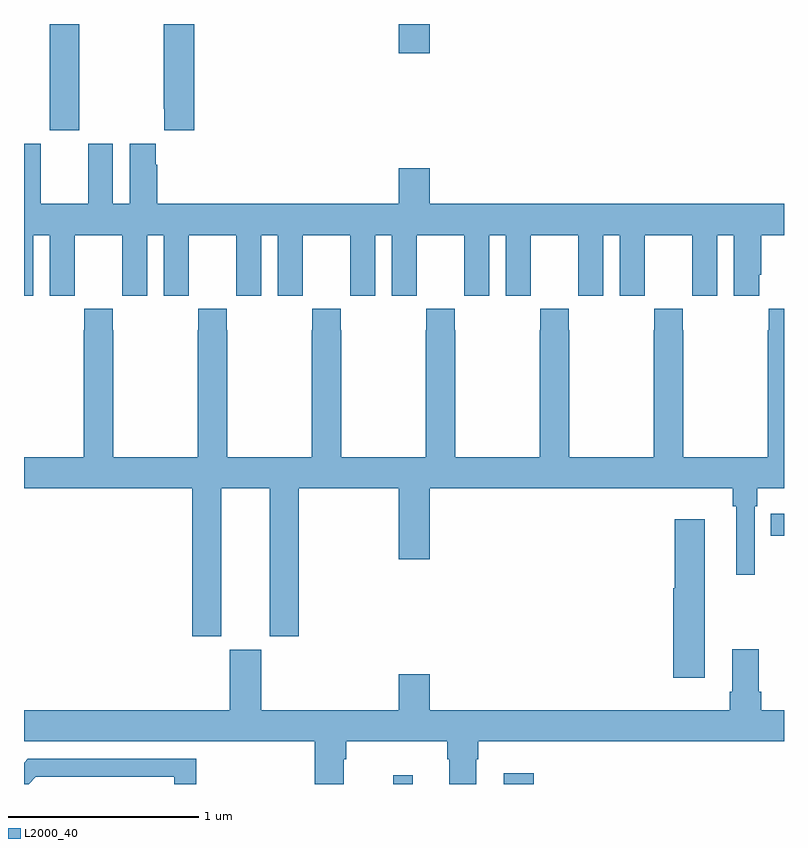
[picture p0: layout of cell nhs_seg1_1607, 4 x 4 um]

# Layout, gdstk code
import gdstk
lib = gdstk.Library(unit=1e-6, precision=1e-09)
def R(c, l, rs):  # rectangles x0, y0, x1, y1
    for r in rs: c.add(gdstk.rectangle(r[:2], r[2:], *l))
def P(c, l, *ps):  # polygons
    for p in ps: c.add(gdstk.Polygon(p, *l))
L2000_40 = (2000, 40)

nhs_seg1_1607 = lib.new_cell('nhs_seg1_1607')
R(nhs_seg1_1607, L2000_40, [(200.944,526.199,201.047,526.246), (201.524,526.199,201.683,526.255), (202.93,527.506,203,527.622), (199.135,529.641,199.29,530.199), (200.972,530.046,201.136,530.199)])
P(nhs_seg1_1607, L2000_40, [(199.895,530.199),(199.735,530.199),(199.735,529.753),(199.739,529.753),(199.739,529.641),(199.895,529.641)],
  [(199.048,529.088),(199.136,529.088),(199.136,528.768),(199.266,528.768),(199.266,528.88),(199.267,528.88),(199.267,529.088),(199.517,529.088),(199.517,528.88),(199.518,528.88),(199.518,528.768),(199.648,528.768),(199.648,529.088),(199.736,529.088),(199.736,528.768),(199.866,528.768),(199.866,528.88),(199.867,528.88),(199.867,529.088),(200.117,529.088),(200.117,528.88),(200.118,528.88),(200.118,528.768),(200.248,528.768),(200.248,529.088),(200.336,529.088),(200.336,528.768),(200.466,528.768),(200.466,528.88),(200.467,528.88),(200.467,529.088),(200.717,529.088),(200.717,528.88),(200.718,528.88),(200.718,528.768),(200.848,528.768),(200.848,529.088),(200.936,529.088),(200.936,528.768),(201.066,528.768),(201.066,528.88),(201.067,528.88),(201.067,529.088),(201.317,529.088),(201.317,528.88),(201.318,528.88),(201.318,528.768),(201.448,528.768),(201.448,529.088),(201.536,529.088),(201.536,528.768),(201.666,528.768),(201.666,528.88),(201.667,528.88),(201.667,529.088),(201.917,529.088),(201.917,528.88),(201.918,528.88),(201.918,528.768),(202.048,528.768),(202.048,529.088),(202.136,529.088),(202.136,528.768),(202.266,528.768),(202.266,528.88),(202.267,528.88),(202.267,529.088),(202.517,529.088),(202.517,528.88),(202.518,528.88),(202.518,528.768),(202.648,528.768),(202.648,529.088),(202.736,529.088),(202.736,528.768),(202.87,528.768),(202.87,528.88),(202.88,528.88),(202.88,529.088),(203,529.088),(203,529.252),(201.136,529.252),(201.136,529.441),(200.972,529.441),(200.972,529.252),(199.7,529.252),(199.7,529.457),(199.693,529.457),(199.693,529.57),(199.556,529.57),(199.556,529.252),(199.468,529.252),(199.468,529.57),(199.337,529.57),(199.337,529.252),(199.087,529.252),(199.087,529.57),(199,529.57),(199,528.768),(199.048,528.768)],
  [(200.038,527.756),(200.294,527.756),(200.294,526.977),(200.447,526.977),(200.447,527.756),(200.972,527.756),(200.972,527.382),(201.136,527.382),(201.136,527.756),(202.729,527.756),(202.729,527.66),(202.748,527.66),(202.748,527.301),(202.845,527.301),(202.845,527.66),(202.859,527.66),(202.859,527.756),(203,527.756),(203,528.7),(202.921,528.7),(202.921,528.587),(202.915,528.587),(202.915,527.92),(202.47,527.92),(202.47,528.587),(202.467,528.587),(202.467,528.7),(202.317,528.7),(202.317,528.587),(202.315,528.587),(202.315,527.92),(201.87,527.92),(201.87,528.587),(201.867,528.587),(201.867,528.7),(201.717,528.7),(201.717,528.587),(201.715,528.587),(201.715,527.92),(201.27,527.92),(201.27,528.587),(201.267,528.587),(201.267,528.7),(201.117,528.7),(201.117,528.587),(201.115,528.587),(201.115,527.92),(200.67,527.92),(200.67,528.587),(200.667,528.587),(200.667,528.7),(200.517,528.7),(200.517,528.587),(200.515,528.587),(200.515,527.92),(200.07,527.92),(200.07,528.587),(200.067,528.587),(200.067,528.7),(199.917,528.7),(199.917,528.587),(199.915,528.587),(199.915,527.92),(199.47,527.92),(199.47,528.587),(199.467,528.587),(199.467,528.7),(199.317,528.7),(199.317,528.587),(199.315,528.587),(199.315,527.92),(199,527.92),(199,527.756),(199.886,527.756),(199.886,526.977),(200.038,526.977)],
  [(202.582,527.593),(202.424,527.593),(202.424,527.229),(202.418,527.229),(202.418,526.758),(202.582,526.758)],
  [(200.683,526.328),(200.696,526.328),(200.696,526.424),(201.227,526.424),(201.227,526.328),(201.239,526.328),(201.239,526.199),(201.379,526.199),(201.379,526.328),(201.392,526.328),(201.392,526.424),(203,526.424),(203,526.588),(202.88,526.588),(202.88,526.684),(202.867,526.684),(202.867,526.909),(202.727,526.909),(202.727,526.684),(202.715,526.684),(202.715,526.588),(201.136,526.588),(201.136,526.777),(200.972,526.777),(200.972,526.588),(200.248,526.588),(200.248,526.905),(200.084,526.905),(200.084,526.588),(199,526.588),(199,526.424),(200.531,526.424),(200.531,526.199),(200.683,526.199)],
  [(199.062,526.236),(199.791,526.236),(199.791,526.199),(199.907,526.199),(199.907,526.332),(199.02,526.332),(199,526.312),(199,526.199),(199.025,526.199)])

lib.write_gds('nhs_seg1_1607.gds')
